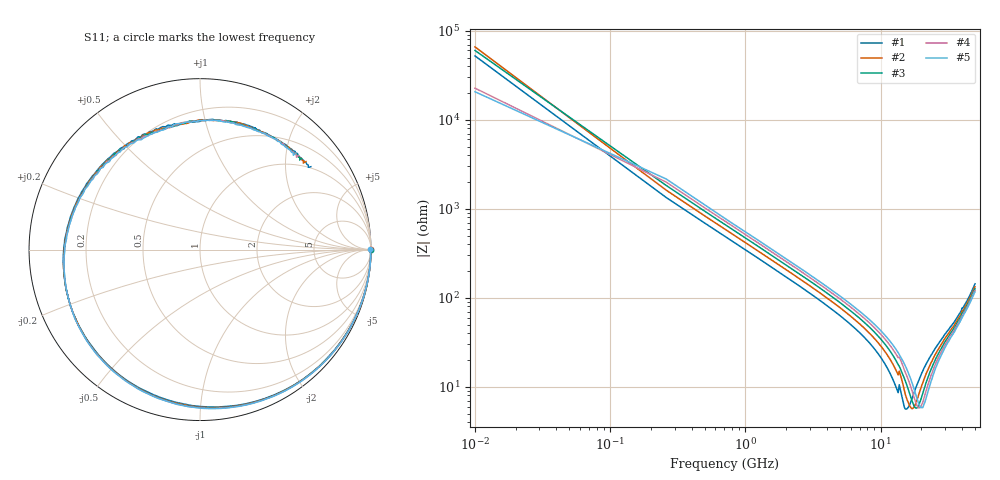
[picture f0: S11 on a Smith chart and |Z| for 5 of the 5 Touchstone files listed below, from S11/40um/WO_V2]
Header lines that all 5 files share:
!Agilent Technologies,N5227A,US51270434,A.10.00.00
!Agilent N5227A: A.10.00.00
!Correction: S11(Full 1 Port(1))
!S1P File: Measurement: S11:
# Hz S  dB  R 50
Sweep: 10 MHz to 50 GHz
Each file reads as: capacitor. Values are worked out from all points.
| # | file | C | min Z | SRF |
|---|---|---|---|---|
| 1 | S11_-3V.s1p | 459 fF | 5.62 ohm | 15.53 GHz |
| 2 | S11_-4V.s1p | 381 fF | 5.69 ohm | 17.34 GHz |
| 3 | S11_-5V.s1p | 338 fF | 5.75 ohm | 18.56 GHz |
| 4 | S11_-6V.s1p | 309 fF | 5.77 ohm | 19.51 GHz |
| 5 | S11_-7V_without.s1p | 288 fF | 5.82 ohm | 20.31 GHz |
